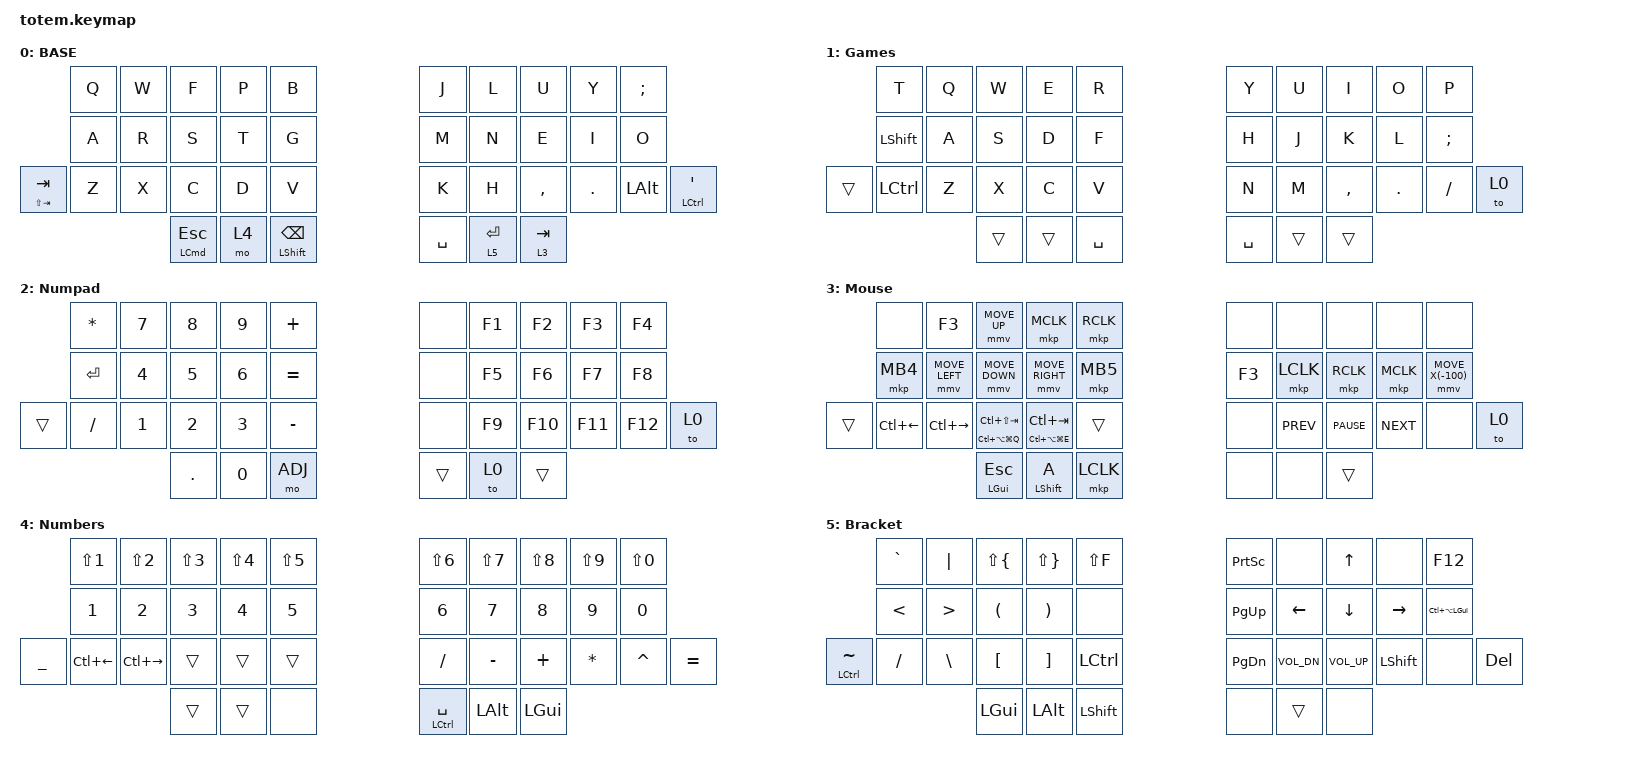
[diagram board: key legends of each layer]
//
//                                                        ▀▀▀▀▀     ▀▀▀▀▀          ▀▀█▀▀
//                                                        ▄▀▀▀▄  ▄  ▄▀▀▀▄  ▄  ▄▀▀▀▄  █  ▄▀▀▀▄
//                                                        █   █  █  █   █  █  █   █  █  █   █
//                                                         ▀▀▀   █   ▀▀▀   █   ▀▀▀   ▀   ▀▀▀
//                                                               █      ▄▄▄█▄▄▄    █   █  
//                                                               ▀      █  █  █     █▄█
//                                                             ▀▀▀▀▀    █  █  █      ▀
//                                                                      ▀  ▀  ▀
//
// ▄▄▄▄▄▄▄▄▄▄▄▄▄▄▄▄▄▄▄▄▄▄▄▄▄▄▄▄▄▄▄▄▄▄▄▄▄▄▄▄▄▄▄▄▄▄▄▄▄▄▄▄▄▄▄▄▄▄▄▄▄▄▄▄▄▄▄▄▄▄▄▄▄▄▄▄▄▄▄▄▄▄▄▄▄▄▄▄▄▄▄▄▄▄▄▄▄▄▄▄▄▄▄▄▄▄▄▄▄▄▄▄▄▄▄▄▄▄▄▄▄▄▄▄▄▄▄▄▄▄▄▄▄▄▄▄▄▄▄▄▄▄▄▄▄▄▄▄▄

#include <behaviors.dtsi>
#include <dt-bindings/zmk/keys.h>
#include <dt-bindings/zmk/pointing.h>

#define BASE 0
#define NAV  1
#define SYM  2
#define ADJ  3
#define TVP1 4
#define TVP2 5

&mt {
    quick-tap-ms = <100>;
    global-quick-tap;
    flavor = "tap-preferred";
    tapping-term-ms = <170>;
};

/ {
    combos {
        compatible = "zmk,combos";

        mouse_on {
            bindings = <&tog 3>;
            key-positions = <32 33>;
            layers = <0>;
        };

        numpad_on {
            bindings = <&tog 2>;
            key-positions = <33 34>;
            layers = <0>;
        };

        game_on {
            bindings = <&tog 1>;
            key-positions = <32 34>;
            layers = <0>;
        };

        numpad_off {
            bindings = <&to 0>;
            key-positions = <32 33>;
            layers = <2>;
        };

        mouse_off {
            bindings = <&to 0>;
            key-positions = <32 33>;
            layers = <3>;
        };

        Word_delete {
            bindings = <&kp LA(BACKSPACE)>;
            key-positions = <20 34>;
            layers = <0>;
        };
    };

    keymap {
        compatible = "zmk,keymap";

        // ▄▄▄▄▄▄▄▄▄▄▄▄▄▄▄▄▄▄▄▄▄▄▄▄▄▄▄▄▄▄▄▄▄▄▄▄▄▄▄▄▄▄▄▄▄▄▄▄▄▄▄▄▄▄▄▄▄▄▄▄▄▄▄▄▄▄▄▄▄▄▄▄▄▄▄▄▄▄▄▄▄▄▄▄▄▄▄▄▄▄▄▄▄▄▄▄▄▄▄▄▄▄▄▄▄▄▄▄▄▄▄▄▄▄▄▄▄▄▄▄▄▄▄▄▄▄▄▄▄▄▄▄▄▄▄▄▄▄▄▄▄▄▄▄▄▄▄▄▄

        base_layer {
            // ┏━━━━━━━━━━━━━━━━━━━━━━━━━━━━━━━━━━━━━━━┓

            label = "BASE";

            // ┗━━━━━━━━━━━━━━━━━━━━━━━━━━━━━━━━━━━━━━━┛
            //             ┏━━━━━━━━━━━┳━━━━━━━━━━━┳━━━━━━━━━━━┳━━━━━━━━━━━┳━━━━━━━━━━━┓   ┏━━━━━━━━━━━┳━━━━━━━━━━━┳━━━━━━━━━━━┳━━━━━━━━━━━┳━━━━━━━━━━━┓
            //             ┃     Q     ┃     W     ┃     F     ┃     P     ┃     G     ┃   ┃     J     ┃     L     ┃     U     ┃     Y     ┃     ;     ┃
            //             ┣━━━━━━━━━━━╋━━━━━━━━━━━╋━━━━━━━━━━━╋━━━━━━━━━━━╋━━━━━━━━━━━┫   ┣━━━━━━━━━━━╋━━━━━━━━━━━╋━━━━━━━━━━━╋━━━━━━━━━━━╋━━━━━━━━━━━┫
            //             ┃     A     ┃     R     ┃     S     ┃     T     ┃     D     ┃   ┃     H     ┃     N     ┃     E     ┃     I     ┃     O     ┃
            // ┏━━━━━━━━━━━╋━━━━━━━━━━━╋━━━━━━━━━━━╋━━━━━━━━━━━╋━━━━━━━━━━━╋━━━━━━━━━━━┫   ┣━━━━━━━━━━━╋━━━━━━━━━━━╋━━━━━━━━━━━╋━━━━━━━━━━━╋━━━━━━━━━━━╋━━━━━━━━━━━┓
            // ┃     Q     ┃     Z     ┃     X     ┃     C     ┃     V     ┃     B     ┃   ┃     K     ┃     M     ┃     ,     ┃     .     ┃     /     ┃     \     ┃
            // ┗━━━━━━━━━━━┻━━━━━━━━━━━┻━━━━━━━━━━━╋━━━━━━━━━━━╋━━━━━━━━━━━╋━━━━━━━━━━━┫   ┣━━━━━━━━━━━╋━━━━━━━━━━━╋━━━━━━━━━━━╋━━━━━━━━━━━┻━━━━━━━━━━━┻━━━━━━━━━━━┛
            //                                     ┃    DEL    ┃    TAB    ┃    SPC    ┃   ┃   ENTER   ┃           ┃   BSPC    ┃
            //                                     ┗━━━━━━━━━━━┻━━━━━━━━━━━┻━━━━━━━━━━━┛   ┗━━━━━━━━━━━┻━━━━━━━━━━━┻━━━━━━━━━━━┛

            bindings = <
                 &kp Q  &kp W  &kp F                    &kp P  &kp B                       &kp J      &kp L        &kp U      &kp Y    &kp SEMI
                 &kp A  &kp R  &kp S                    &kp T  &kp G                       &kp M      &kp N        &kp E      &kp I    &kp O
&mt LS(TAB) TAB  &kp Z  &kp X  &kp C                    &kp D  &kp V                       &kp K      &kp H        &kp COMMA  &kp DOT  &kp LEFT_ALT  &mt LEFT_CONTROL APOS
                               &mt LEFT_COMMAND ESCAPE  &mo 4  &mt LEFT_SHIFT BACKSPACE    &kp SPACE  &lt 5 ENTER  &lt 3 TAB
            >;
        };

        // ▄▄▄▄▄▄▄▄▄▄▄▄▄▄▄▄▄▄▄▄▄▄▄▄▄▄▄▄▄▄▄▄▄▄▄▄▄▄▄▄▄▄▄▄▄▄▄▄▄▄▄▄▄▄▄▄▄▄▄▄▄▄▄▄▄▄▄▄▄▄▄▄▄▄▄▄▄▄▄▄▄▄▄▄▄▄▄▄▄▄▄▄▄▄▄▄▄▄▄▄▄▄▄▄▄▄▄▄▄▄▄▄▄▄▄▄▄▄▄▄▄▄▄▄▄▄▄▄▄▄▄▄▄▄▄▄▄▄▄▄▄▄▄▄▄▄▄▄▄

        Games {
            // ┏━━━━━━━━━━━━━━━━━━━━━━━━━━━━━━━━━━━━━━━┓

            label = "Games";

            // ┗━━━━━━━━━━━━━━━━━━━━━━━━━━━━━━━━━━━━━━━┛
            //             ┏━━━━━━━━━━━┳━━━━━━━━━━━┳━━━━━━━━━━━┳━━━━━━━━━━━┳━━━━━━━━━━━┓   ┏━━━━━━━━━━━┳━━━━━━━━━━━┳━━━━━━━━━━━┳━━━━━━━━━━━┳━━━━━━━━━━━┓
            //             ┃           ┃           ┃     UP    ┃           ┃     {     ┃   ┃     }     ┃     7     ┃     8     ┃     9     ┃     +     ┃
            //             ┣━━━━━━━━━━━╋━━━━━━━━━━━╋━━━━━━━━━━━╋━━━━━━━━━━━╋━━━━━━━━━━━┫   ┣━━━━━━━━━━━╋━━━━━━━━━━━╋━━━━━━━━━━━╋━━━━━━━━━━━╋━━━━━━━━━━━┫
            //             ┃   SHIFT   ┃   LEFT    ┃    DOWN   ┃   RIGHT   ┃     [     ┃   ┃     ]     ┃     4     ┃     5     ┃     6     ┃     -     ┃
            // ┏━━━━━━━━━━━╋━━━━━━━━━━━╋━━━━━━━━━━━╋━━━━━━━━━━━╋━━━━━━━━━━━╋━━━━━━━━━━━┫   ┣━━━━━━━━━━━╋━━━━━━━━━━━╋━━━━━━━━━━━╋━━━━━━━━━━━╋━━━━━━━━━━━╋━━━━━━━━━━━┓
            // ┃           ┃           ┃   P UP    ┃  C LOCK   ┃  P DOWN   ┃     (     ┃   ┃     )     ┃     1     ┃     2     ┃     3     ┃     *     ┃           ┃
            // ┗━━━━━━━━━━━┻━━━━━━━━━━━┻━━━━━━━━━━━╋━━━━━━━━━━━╋━━━━━━━━━━━╋━━━━━━━━━━━┫   ┣━━━━━━━━━━━╋━━━━━━━━━━━╋━━━━━━━━━━━╋━━━━━━━━━━━┻━━━━━━━━━━━┻━━━━━━━━━━━┛
            //                                     ┃           ┃    TAB    ┃    SPC    ┃   ┃    DEL    ┃     0     ┃           ┃
            //                                     ┗━━━━━━━━━━━┻━━━━━━━━━━━┻━━━━━━━━━━━┛   ┗━━━━━━━━━━━┻━━━━━━━━━━━┻━━━━━━━━━━━┛

            bindings = <
        &kp T             &kp Q  &kp W   &kp E   &kp R        &kp Y      &kp U   &kp I      &kp O       &kp P
        &kp LSHFT         &kp A  &kp S   &kp D   &kp F        &kp H      &kp J   &kp K      &kp L       &kp SEMICOLON
&trans  &kp LEFT_CONTROL  &kp Z  &kp X   &kp C   &kp V        &kp N      &kp M   &kp COMMA  &kp PERIOD  &kp SLASH      &to 0
                                 &trans  &trans  &kp SPACE    &kp SPACE  &trans  &trans
            >;
        };

        // ▄▄▄▄▄▄▄▄▄▄▄▄▄▄▄▄▄▄▄▄▄▄▄▄▄▄▄▄▄▄▄▄▄▄▄▄▄▄▄▄▄▄▄▄▄▄▄▄▄▄▄▄▄▄▄▄▄▄▄▄▄▄▄▄▄▄▄▄▄▄▄▄▄▄▄▄▄▄▄▄▄▄▄▄▄▄▄▄▄▄▄▄▄▄▄▄▄▄▄▄▄▄▄▄▄▄▄▄▄▄▄▄▄▄▄▄▄▄▄▄▄▄▄▄▄▄▄▄▄▄▄▄▄▄▄▄▄▄▄▄▄▄▄▄▄▄▄▄▄

        Numpad {
            // ┏━━━━━━━━━━━━━━━━━━━━━━━━━━━━━━━━━━━━━━━┓

            label = "Numpad";

            // ┗━━━━━━━━━━━━━━━━━━━━━━━━━━━━━━━━━━━━━━━┛
            //             ┏━━━━━━━━━━━┳━━━━━━━━━━━┳━━━━━━━━━━━┳━━━━━━━━━━━┳━━━━━━━━━━━┓   ┏━━━━━━━━━━━┳━━━━━━━━━━━┳━━━━━━━━━━━┳━━━━━━━━━━━┳━━━━━━━━━━━┓
            //             ┃     !     ┃     @     ┃     #     ┃     $     ┃     %     ┃   ┃     ˆ     ┃     &     ┃     Ü     ┃     '     ┃     "     ┃
            //             ┣━━━━━━━━━━━╋━━━━━━━━━━━╋━━━━━━━━━━━╋━━━━━━━━━━━╋━━━━━━━━━━━┫   ┣━━━━━━━━━━━╋━━━━━━━━━━━╋━━━━━━━━━━━╋━━━━━━━━━━━╋━━━━━━━━━━━┫
            //             ┃     Ä     ┃           ┃    SZ     ┃           ┃           ┃   ┃   MUTE    ┃   YEN     ┃   EURO    ┃  POUND    ┃     Ö     ┃
            // ┏━━━━━━━━━━━╋━━━━━━━━━━━╋━━━━━━━━━━━╋━━━━━━━━━━━╋━━━━━━━━━━━╋━━━━━━━━━━━┫   ┣━━━━━━━━━━━╋━━━━━━━━━━━╋━━━━━━━━━━━╋━━━━━━━━━━━╋━━━━━━━━━━━╋━━━━━━━━━━━┓
            // ┃           ┃  EMAIL1   ┃  EMAIL2   ┃           ┃           ┃           ┃   ┃   VOL-    ┃   VOL+    ┃   LAST    ┃   NEXT    ┃     \     ┃           ┃
            // ┗━━━━━━━━━━━┻━━━━━━━━━━━┻━━━━━━━━━━━╋━━━━━━━━━━━╋━━━━━━━━━━━╋━━━━━━━━━━━┫   ┣━━━━━━━━━━━╋━━━━━━━━━━━╋━━━━━━━━━━━╋━━━━━━━━━━━┻━━━━━━━━━━━┻━━━━━━━━━━━┛
            //                                     ┃           ┃    GIF    ┃    ADJ    ┃   ┃           ┃           ┃           ┃
            //                                     ┗━━━━━━━━━━━┻━━━━━━━━━━━┻━━━━━━━━━━━┛   ┗━━━━━━━━━━━┻━━━━━━━━━━━┻━━━━━━━━━━━┛

            bindings = <
        &kp ASTERISK  &kp N7        &kp N8        &kp N9        &kp PLUS     &none   &kp F1  &kp F2   &kp F3   &kp F4
        &kp ENTER     &kp NUMBER_4  &kp N5        &kp NUMBER_6  &kp EQUAL    &none   &kp F5  &kp F6   &kp F7   &kp F8
&trans  &kp SLASH     &kp NUMBER_1  &kp NUMBER_2  &kp NUMBER_3  &kp MINUS    &none   &kp F9  &kp F10  &kp F11  &kp F12  &to 0
                                    &kp PERIOD    &kp N0        &mo ADJ      &trans  &to 0   &trans
            >;
        };

        // ▄▄▄▄▄▄▄▄▄▄▄▄▄▄▄▄▄▄▄▄▄▄▄▄▄▄▄▄▄▄▄▄▄▄▄▄▄▄▄▄▄▄▄▄▄▄▄▄▄▄▄▄▄▄▄▄▄▄▄▄▄▄▄▄▄▄▄▄▄▄▄▄▄▄▄▄▄▄▄▄▄▄▄▄▄▄▄▄▄▄▄▄▄▄▄▄▄▄▄▄▄▄▄▄▄▄▄▄▄▄▄▄▄▄▄▄▄▄▄▄▄▄▄▄▄▄▄▄▄▄▄▄▄▄▄▄▄▄▄▄▄▄▄▄▄▄▄▄▄

        Mouse {
            // ┏━━━━━━━━━━━━━━━━━━━━━━━━━━━━━━━━━━━━━━━┓

            label = "Mouse";

            // ┗━━━━━━━━━━━━━━━━━━━━━━━━━━━━━━━━━━━━━━━┛
            //             ┏━━━━━━━━━━━┳━━━━━━━━━━━┳━━━━━━━━━━━┳━━━━━━━━━━━┳━━━━━━━━━━━┓   ┏━━━━━━━━━━━┳━━━━━━━━━━━┳━━━━━━━━━━━┳━━━━━━━━━━━┳━━━━━━━━━━━┓
            //             ┃   RESET   ┃ BT CLEAR  ┃  OUT TOG  ┃           ┃           ┃   ┃           ┃    F7     ┃    F8     ┃    F9     ┃    F12    ┃
            //             ┣━━━━━━━━━━━╋━━━━━━━━━━━╋━━━━━━━━━━━╋━━━━━━━━━━━╋━━━━━━━━━━━┫   ┣━━━━━━━━━━━╋━━━━━━━━━━━╋━━━━━━━━━━━╋━━━━━━━━━━━╋━━━━━━━━━━━┫
            //             ┃ BOOTLOAD  ┃ BT NEXT   ┃           ┃           ┃           ┃   ┃           ┃    F4     ┃    F5     ┃    F6     ┃    F11    ┃
            // ┏━━━━━━━━━━━╋━━━━━━━━━━━╋━━━━━━━━━━━╋━━━━━━━━━━━╋━━━━━━━━━━━╋━━━━━━━━━━━┫   ┣━━━━━━━━━━━╋━━━━━━━━━━━╋━━━━━━━━━━━╋━━━━━━━━━━━╋━━━━━━━━━━━╋━━━━━━━━━━━┓
            // ┃           ┃           ┃ BT PREV   ┃           ┃           ┃           ┃   ┃           ┃    F1     ┃    F2     ┃    F3     ┃    F10    ┃           ┃
            // ┗━━━━━━━━━━━┻━━━━━━━━━━━┻━━━━━━━━━━━╋━━━━━━━━━━━╋━━━━━━━━━━━╋━━━━━━━━━━━┫   ┣━━━━━━━━━━━╋━━━━━━━━━━━╋━━━━━━━━━━━╋━━━━━━━━━━━┻━━━━━━━━━━━┻━━━━━━━━━━━┛
            //                                     ┃           ┃           ┃           ┃   ┃           ┃           ┃           ┃
            //                                     ┗━━━━━━━━━━━┻━━━━━━━━━━━┻━━━━━━━━━━━┛   ┗━━━━━━━━━━━┻━━━━━━━━━━━┻━━━━━━━━━━━┛

            bindings = <
        &none               &kp F3               &mmv MOVE_UP                   &mkp MCLK                  &mkp RCLK    &none   &none       &none        &none       &none
        &mkp MB4            &mmv MOVE_LEFT       &mmv MOVE_DOWN                 &mmv MOVE_RIGHT            &mkp MB5     &kp F3  &mkp LCLK   &mkp RCLK    &mkp MCLK   &mmv MOVE_X(-100)
&trans  &kp LC(LEFT_ARROW)  &kp LC(RIGHT_ARROW)  &mt LC(LA(LG(Q))) LC(LS(TAB))  &mt LC(LA(LG(E))) LC(TAB)  &trans       &none   &kp C_PREV  &kp C_PAUSE  &kp C_NEXT  &none              &to 0
                                                 &mt LEFT_GUI ESCAPE            &mt LEFT_SHIFT A           &mkp LCLK    &none   &none       &trans
            >;
        };

        // ▄▄▄▄▄▄▄▄▄▄▄▄▄▄▄▄▄▄▄▄▄▄▄▄▄▄▄▄▄▄▄▄▄▄▄▄▄▄▄▄▄▄▄▄▄▄▄▄▄▄▄▄▄▄▄▄▄▄▄▄▄▄▄▄▄▄▄▄▄▄▄▄▄▄▄▄▄▄▄▄▄▄▄▄▄▄▄▄▄▄▄▄▄▄▄▄▄▄▄▄▄▄▄▄▄▄▄▄▄▄▄▄▄▄▄▄▄▄▄▄▄▄▄▄▄▄▄▄▄▄▄▄▄▄▄▄▄▄▄▄▄▄▄▄▄▄▄▄▄

        Numbers {
            // ┏━━━━━━━━━━━━━━━━━━━━━━━━━━━━━━━━━━━━━━━┓

            label = "Numbers";

            // ┗━━━━━━━━━━━━━━━━━━━━━━━━━━━━━━━━━━━━━━━┛
            //             ┏━━━━━━━━━━━┳━━━━━━━━━━━┳━━━━━━━━━━━┳━━━━━━━━━━━┳━━━━━━━━━━━┓   ┏━━━━━━━━━━━┳━━━━━━━━━━━┳━━━━━━━━━━━┳━━━━━━━━━━━┳━━━━━━━━━━━┓
            //             ┃ NEXT FILE ┃ MARK IN   ┃ ROTATE    ┃ MARK OUT  ┃ SHOW SNAP ┃   ┃           ┃           ┃           ┃           ┃           ┃
            //             ┣━━━━━━━━━━━╋━━━━━━━━━━━╋━━━━━━━━━━━╋━━━━━━━━━━━╋━━━━━━━━━━━┫   ┣━━━━━━━━━━━╋━━━━━━━━━━━╋━━━━━━━━━━━╋━━━━━━━━━━━╋━━━━━━━━━━━┫
            //             ┃ TVP II    ┃ LEFT      ┃ PAN       ┃ RIGHT     ┃ PLAY/FLIP ┃   ┃           ┃           ┃           ┃           ┃           ┃
            // ┏━━━━━━━━━━━╋━━━━━━━━━━━╋━━━━━━━━━━━╋━━━━━━━━━━━╋━━━━━━━━━━━╋━━━━━━━━━━━┫   ┣━━━━━━━━━━━╋━━━━━━━━━━━╋━━━━━━━━━━━╋━━━━━━━━━━━╋━━━━━━━━━━━╋━━━━━━━━━━━┓
            // ┃ FULLSCR   ┃ SHIFT     ┃ COPY      ┃ DELETE    ┃ PASTE     ┃ IMG MARK  ┃   ┃           ┃           ┃           ┃           ┃           ┃           ┃
            // ┗━━━━━━━━━━━┻━━━━━━━━━━━┻━━━━━━━━━━━╋━━━━━━━━━━━╋━━━━━━━━━━━╋━━━━━━━━━━━┫   ┣━━━━━━━━━━━╋━━━━━━━━━━━╋━━━━━━━━━━━╋━━━━━━━━━━━┻━━━━━━━━━━━┻━━━━━━━━━━━┛
            //                                     ┃           ┃ UNDO/SAVE ┃  SEL/MOV  ┃   ┃           ┃           ┃           ┃
            //                                     ┗━━━━━━━━━━━┻━━━━━━━━━━━┻━━━━━━━━━━━┛   ┗━━━━━━━━━━━┻━━━━━━━━━━━┻━━━━━━━━━━━┛

            bindings = <
                &kp LS(NUMBER_1)    &kp LS(NUMBER_2)     &kp LS(NUMBER_3)  &kp LS(NUMBER_4)  &kp LS(N5)    &kp LS(NUMBER_6)  &kp LS(N7)    &kp LS(N8)    &kp LS(N9)    &kp LS(N0)
                &kp NUMBER_1        &kp NUMBER_2         &kp NUMBER_3      &kp NUMBER_4      &kp N5        &kp NUMBER_6      &kp N7        &kp N8        &kp N9        &kp N0
&kp UNDERSCORE  &kp LC(LEFT_ARROW)  &kp LC(RIGHT_ARROW)  &trans            &trans            &trans        &kp SLASH         &kp MINUS     &kp PLUS      &kp ASTERISK  &kp CARET   &kp EQUAL
                                                         &trans            &trans            &none         &mt LCTRL SPACE   &kp LEFT_ALT  &kp LEFT_GUI
            >;
        };

        // ▄▄▄▄▄▄▄▄▄▄▄▄▄▄▄▄▄▄▄▄▄▄▄▄▄▄▄▄▄▄▄▄▄▄▄▄▄▄▄▄▄▄▄▄▄▄▄▄▄▄▄▄▄▄▄▄▄▄▄▄▄▄▄▄▄▄▄▄▄▄▄▄▄▄▄▄▄▄▄▄▄▄▄▄▄▄▄▄▄▄▄▄▄▄▄▄▄▄▄▄▄▄▄▄▄▄▄▄▄▄▄▄▄▄▄▄▄▄▄▄▄▄▄▄▄▄▄▄▄▄▄▄▄▄▄▄▄▄▄▄▄▄▄▄▄▄▄▄▄

        Bracket {
            // ┏━━━━━━━━━━━━━━━━━━━━━━━━━━━━━━━━━━━━━━━┓

            label = "Bracket";

            // ┗━━━━━━━━━━━━━━━━━━━━━━━━━━━━━━━━━━━━━━━┛
            //             ┏━━━━━━━━━━━┳━━━━━━━━━━━┳━━━━━━━━━━━┳━━━━━━━━━━━┳━━━━━━━━━━━┓   ┏━━━━━━━━━━━┳━━━━━━━━━━━┳━━━━━━━━━━━┳━━━━━━━━━━━┳━━━━━━━━━━━┓
            //             ┃ SOLO      ┃ TOGGLE IN ┃ RESET ROT ┃ TOGGLE OUT┃ TAKE SNAP ┃   ┃           ┃           ┃           ┃           ┃           ┃
            //             ┣━━━━━━━━━━━╋━━━━━━━━━━━╋━━━━━━━━━━━╋━━━━━━━━━━━╋━━━━━━━━━━━┫   ┣━━━━━━━━━━━╋━━━━━━━━━━━╋━━━━━━━━━━━╋━━━━━━━━━━━╋━━━━━━━━━━━┫
            //             ┃ ---       ┃ LAST KEY  ┃ NEW KEY   ┃ NEXT KEY  ┃ ENTER     ┃   ┃           ┃           ┃           ┃           ┃           ┃
            // ┏━━━━━━━━━━━╋━━━━━━━━━━━╋━━━━━━━━━━━╋━━━━━━━━━━━╋━━━━━━━━━━━╋━━━━━━━━━━━┫   ┣━━━━━━━━━━━╋━━━━━━━━━━━╋━━━━━━━━━━━╋━━━━━━━━━━━╋━━━━━━━━━━━╋━━━━━━━━━━━┓
            // ┃           ┃ FULLSCR   ┃ CPY2BRUSH ┃ DEL HEAD  ┃ PSTinPLACE┃ BOOK MARK ┃   ┃           ┃           ┃           ┃           ┃           ┃           ┃
            // ┗━━━━━━━━━━━┻━━━━━━━━━━━┻━━━━━━━━━━━╋━━━━━━━━━━━╋━━━━━━━━━━━╋━━━━━━━━━━━┫   ┣━━━━━━━━━━━╋━━━━━━━━━━━╋━━━━━━━━━━━╋━━━━━━━━━━━┻━━━━━━━━━━━┻━━━━━━━━━━━┛
            //                                     ┃           ┃ REDO/SAV1 ┃TRANS/WARP ┃   ┃           ┃           ┃           ┃
            //                                     ┗━━━━━━━━━━━┻━━━━━━━━━━━┻━━━━━━━━━━━┛   ┗━━━━━━━━━━━┻━━━━━━━━━━━┻━━━━━━━━━━━┛

            bindings = <
                        &kp GRAVE      &kp PIPE          &kp LS(LEFT_BRACE)    &kp LS(RIGHT_BRACE)    &kp LS(F)           &kp PRINTSCREEN  &none         &kp UP_ARROW     &none           &kp F12
                        &kp LESS_THAN  &kp GREATER_THAN  &kp LEFT_PARENTHESIS  &kp RIGHT_PARENTHESIS  &none               &kp PAGE_UP      &kp LEFT      &kp DOWN         &kp RIGHT       &kp LC(LA(LEFT_GUI))
&mt LEFT_CONTROL TILDE  &kp SLASH      &kp BACKSLASH     &kp LEFT_BRACKET      &kp RIGHT_BRACKET      &kp LEFT_CONTROL    &kp PAGE_DOWN    &kp C_VOL_DN  &kp C_VOLUME_UP  &kp LEFT_SHIFT  &none                 &kp DELETE
                                                         &kp LEFT_GUI          &kp LEFT_ALT           &kp LSHIFT          &none            &trans        &none
            >;
        };
    };
};
